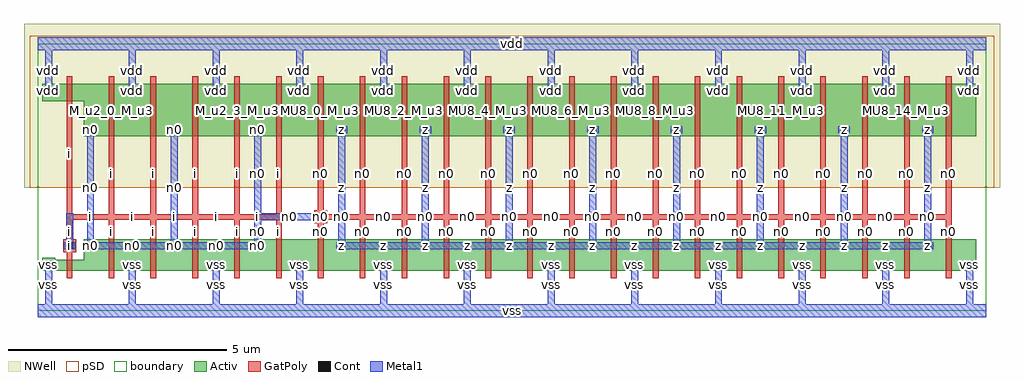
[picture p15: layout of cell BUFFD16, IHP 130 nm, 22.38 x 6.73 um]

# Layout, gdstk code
import gdstk
lib = gdstk.Library(unit=1e-6, precision=1e-09)
def R(c, l, rs):  # rectangles x0, y0, x1, y1
    for r in rs: c.add(gdstk.rectangle(r[:2], r[2:], *l))
def A(c, l, x, y, w, h, nx, ny, dx, dy):  # array of equal rectangles
    R(c, l, [(x+i*dx, y+j*dy, x+i*dx+w, y+j*dy+h) for i in range(nx) for j in range(ny)])
Activ = (1, 0)
GatPoly = (5, 0)
Cont = (6, 0)
Metal1 = (8, 0)
pSD = (14, 0)
NWell = (31, 0)
TEXT = (63, 0)
boundary = (189, 4)

buffd16 = lib.new_cell('BUFFD16')
A(buffd16, Activ, 0.105, 0.92, 0.3, 0.3, 12, 2, 1.92, 3.98)
A(buffd16, Activ, 1.065, 0.92, 1.26, 0.72, 21, 1, 0.96, 0)
A(buffd16, Activ, 1.065, 1.34, 0.3, 0.3, 11, 2, 1.92, 2.66)
A(buffd16, Activ, 1.065, 4, 1.26, 1.2, 21, 1, 0.96, 0)
R(buffd16, Activ, [(0.105,0.92,1.365,1.17), (0.105,4.805,1.365,5.2)])
A(buffd16, GatPoly, 1.63, 0.74, 0.13, 1.08, 21, 1, 0.96, 0)
A(buffd16, GatPoly, 1.63, 1.425, 0.13, 0.79, 21, 1, 0.96, 0)
A(buffd16, GatPoly, 0.67, 2.085, 1.09, 0.13, 5, 1, 0.96, 0)
A(buffd16, GatPoly, 1.63, 2.085, 0.13, 2.13, 21, 1, 0.96, 0)
A(buffd16, GatPoly, 6.43, 2.085, 1.09, 0.13, 15, 1, 0.96, 0)
A(buffd16, GatPoly, 1.63, 3.82, 0.13, 1.56, 21, 1, 0.96, 0)
R(buffd16, GatPoly, [(0.67,0.74,0.8,1.35), (0.67,1.005,0.8,2.215), (0.585,1.34,0.885,1.64), (6.345,2,6.645,2.3), (0.67,2.085,0.8,5.115), (0.67,4.625,0.8,5.38)])
A(buffd16, Cont, 0.175, 0.99, 0.16, 0.16, 12, 2, 1.92, 3.98)
A(buffd16, Cont, 1.135, 1.41, 0.16, 0.16, 11, 2, 1.92, 2.66)
R(buffd16, Cont, [(0.655,1.41,0.815,1.57), (6.415,2.07,6.575,2.23)])
A(buffd16, Metal1, 0.175, 0.07, 0.16, 1.08, 12, 2, 1.92, 4.9)
A(buffd16, Metal1, 0.125, 0.99, 0.26, 0.16, 12, 2, 1.92, 3.98)
A(buffd16, Metal1, 1.085, 1.41, 0.26, 0.16, 11, 2, 1.92, 2.66)
A(buffd16, Metal1, 6.895, 1.41, 2.08, 0.16, 7, 1, 1.92, 0)
A(buffd16, Metal1, 6.895, 1.41, 0.16, 2.82, 8, 1, 1.92, 0)
R(buffd16, Metal1, [(0,-0.15,21.76,0.15), (0.605,1.41,0.865,1.57), (0.655,1.41,0.815,2.23), (1.135,1.41,3.215,1.57), (1.135,1.41,1.295,4.23), (3.055,1.41,5.135,1.57), (3.055,1.41,3.215,4.23), (4.975,1.41,5.135,2.23), (4.975,2.07,6.575,2.23), (4.975,2.07,5.135,4.23), (6.365,2.07,6.625,2.23), (0,5.97,21.76,6.27)])
R(buffd16, pSD, [(-0.18,2.82,21.94,5.94), (-0.18,5.94,21.94,6.3)])
R(buffd16, NWell, [(-0.31,2.82,22.07,6.58)])
R(buffd16, boundary, [(0,0,21.76,6.12)])
buffd16.add(gdstk.FlexPath([(0.105,0.41),(21.525,0.41)], 0, ends="flush", simple_path=True, layer=63, datatype=0))  # TEXT
buffd16.add(gdstk.FlexPath([(0.105,1.07),(21.525,1.07)], 0, ends="flush", simple_path=True, layer=63, datatype=0))  # TEXT
buffd16.add(gdstk.FlexPath([(0.105,1.49),(21.525,1.49)], 0, ends="flush", simple_path=True, layer=63, datatype=0))  # TEXT
buffd16.add(gdstk.FlexPath([(0.105,2.15),(21.525,2.15)], 0, ends="flush", simple_path=True, layer=63, datatype=0))  # TEXT
buffd16.add(gdstk.FlexPath([(0.105,2.63),(21.525,2.63)], 0, ends="flush", simple_path=True, layer=63, datatype=0))  # TEXT
buffd16.add(gdstk.FlexPath([(0.105,3.11),(21.525,3.11)], 0, ends="flush", simple_path=True, layer=63, datatype=0))  # TEXT
buffd16.add(gdstk.FlexPath([(0.105,4.15),(21.525,4.15)], 0, ends="flush", simple_path=True, layer=63, datatype=0))  # TEXT
buffd16.add(gdstk.FlexPath([(0.105,4.71),(21.525,4.71)], 0, ends="flush", simple_path=True, layer=63, datatype=0))  # TEXT
buffd16.add(gdstk.FlexPath([(0.105,5.05),(21.525,5.05)], 0, ends="flush", simple_path=True, layer=63, datatype=0))  # TEXT
buffd16.add(gdstk.FlexPath([(0.105,5.71),(21.525,5.71)], 0, ends="flush", simple_path=True, layer=63, datatype=0))  # TEXT
buffd16.add(gdstk.FlexPath([(0.255,0.07),(0.255,6.05)], 0, ends="flush", simple_path=True, layer=63, datatype=0))  # TEXT
buffd16.add(gdstk.FlexPath([(0.735,0.07),(0.735,6.05)], 0, ends="flush", simple_path=True, layer=63, datatype=0))  # TEXT
buffd16.add(gdstk.FlexPath([(1.215,0.07),(1.215,6.05)], 0, ends="flush", simple_path=True, layer=63, datatype=0))  # TEXT
buffd16.add(gdstk.FlexPath([(1.695,0.07),(1.695,6.05)], 0, ends="flush", simple_path=True, layer=63, datatype=0))  # TEXT
buffd16.add(gdstk.FlexPath([(2.175,0.07),(2.175,6.05)], 0, ends="flush", simple_path=True, layer=63, datatype=0))  # TEXT
buffd16.add(gdstk.FlexPath([(2.655,0.07),(2.655,6.05)], 0, ends="flush", simple_path=True, layer=63, datatype=0))  # TEXT
buffd16.add(gdstk.FlexPath([(3.135,0.07),(3.135,6.05)], 0, ends="flush", simple_path=True, layer=63, datatype=0))  # TEXT
buffd16.add(gdstk.FlexPath([(3.615,0.07),(3.615,6.05)], 0, ends="flush", simple_path=True, layer=63, datatype=0))  # TEXT
buffd16.add(gdstk.FlexPath([(4.095,0.07),(4.095,6.05)], 0, ends="flush", simple_path=True, layer=63, datatype=0))  # TEXT
buffd16.add(gdstk.FlexPath([(4.575,0.07),(4.575,6.05)], 0, ends="flush", simple_path=True, layer=63, datatype=0))  # TEXT
buffd16.add(gdstk.FlexPath([(5.055,0.07),(5.055,6.05)], 0, ends="flush", simple_path=True, layer=63, datatype=0))  # TEXT
buffd16.add(gdstk.FlexPath([(5.535,0.07),(5.535,6.05)], 0, ends="flush", simple_path=True, layer=63, datatype=0))  # TEXT
buffd16.add(gdstk.FlexPath([(6.015,0.07),(6.015,6.05)], 0, ends="flush", simple_path=True, layer=63, datatype=0))  # TEXT
buffd16.add(gdstk.FlexPath([(6.495,0.07),(6.495,6.05)], 0, ends="flush", simple_path=True, layer=63, datatype=0))  # TEXT
buffd16.add(gdstk.FlexPath([(6.975,0.07),(6.975,6.05)], 0, ends="flush", simple_path=True, layer=63, datatype=0))  # TEXT
buffd16.add(gdstk.FlexPath([(7.455,0.07),(7.455,6.05)], 0, ends="flush", simple_path=True, layer=63, datatype=0))  # TEXT
buffd16.add(gdstk.FlexPath([(7.935,0.07),(7.935,6.05)], 0, ends="flush", simple_path=True, layer=63, datatype=0))  # TEXT
buffd16.add(gdstk.FlexPath([(8.415,0.07),(8.415,6.05)], 0, ends="flush", simple_path=True, layer=63, datatype=0))  # TEXT
buffd16.add(gdstk.FlexPath([(8.895,0.07),(8.895,6.05)], 0, ends="flush", simple_path=True, layer=63, datatype=0))  # TEXT
buffd16.add(gdstk.FlexPath([(9.375,0.07),(9.375,6.05)], 0, ends="flush", simple_path=True, layer=63, datatype=0))  # TEXT
buffd16.add(gdstk.FlexPath([(9.855,0.07),(9.855,6.05)], 0, ends="flush", simple_path=True, layer=63, datatype=0))  # TEXT
buffd16.add(gdstk.FlexPath([(10.335,0.07),(10.335,6.05)], 0, ends="flush", simple_path=True, layer=63, datatype=0))  # TEXT
buffd16.add(gdstk.FlexPath([(10.815,0.07),(10.815,6.05)], 0, ends="flush", simple_path=True, layer=63, datatype=0))  # TEXT
buffd16.add(gdstk.FlexPath([(11.295,0.07),(11.295,6.05)], 0, ends="flush", simple_path=True, layer=63, datatype=0))  # TEXT
buffd16.add(gdstk.FlexPath([(11.775,0.07),(11.775,6.05)], 0, ends="flush", simple_path=True, layer=63, datatype=0))  # TEXT
buffd16.add(gdstk.FlexPath([(12.255,0.07),(12.255,6.05)], 0, ends="flush", simple_path=True, layer=63, datatype=0))  # TEXT
buffd16.add(gdstk.FlexPath([(12.735,0.07),(12.735,6.05)], 0, ends="flush", simple_path=True, layer=63, datatype=0))  # TEXT
buffd16.add(gdstk.FlexPath([(13.215,0.07),(13.215,6.05)], 0, ends="flush", simple_path=True, layer=63, datatype=0))  # TEXT
buffd16.add(gdstk.FlexPath([(13.695,0.07),(13.695,6.05)], 0, ends="flush", simple_path=True, layer=63, datatype=0))  # TEXT
buffd16.add(gdstk.FlexPath([(14.175,0.07),(14.175,6.05)], 0, ends="flush", simple_path=True, layer=63, datatype=0))  # TEXT
buffd16.add(gdstk.FlexPath([(14.655,0.07),(14.655,6.05)], 0, ends="flush", simple_path=True, layer=63, datatype=0))  # TEXT
buffd16.add(gdstk.FlexPath([(15.135,0.07),(15.135,6.05)], 0, ends="flush", simple_path=True, layer=63, datatype=0))  # TEXT
buffd16.add(gdstk.FlexPath([(15.615,0.07),(15.615,6.05)], 0, ends="flush", simple_path=True, layer=63, datatype=0))  # TEXT
buffd16.add(gdstk.FlexPath([(16.095,0.07),(16.095,6.05)], 0, ends="flush", simple_path=True, layer=63, datatype=0))  # TEXT
buffd16.add(gdstk.FlexPath([(16.575,0.07),(16.575,6.05)], 0, ends="flush", simple_path=True, layer=63, datatype=0))  # TEXT
buffd16.add(gdstk.FlexPath([(17.055,0.07),(17.055,6.05)], 0, ends="flush", simple_path=True, layer=63, datatype=0))  # TEXT
buffd16.add(gdstk.FlexPath([(17.535,0.07),(17.535,6.05)], 0, ends="flush", simple_path=True, layer=63, datatype=0))  # TEXT
buffd16.add(gdstk.FlexPath([(18.015,0.07),(18.015,6.05)], 0, ends="flush", simple_path=True, layer=63, datatype=0))  # TEXT
buffd16.add(gdstk.FlexPath([(18.495,0.07),(18.495,6.05)], 0, ends="flush", simple_path=True, layer=63, datatype=0))  # TEXT
buffd16.add(gdstk.FlexPath([(18.975,0.07),(18.975,6.05)], 0, ends="flush", simple_path=True, layer=63, datatype=0))  # TEXT
buffd16.add(gdstk.FlexPath([(19.455,0.07),(19.455,6.05)], 0, ends="flush", simple_path=True, layer=63, datatype=0))  # TEXT
buffd16.add(gdstk.FlexPath([(19.935,0.07),(19.935,6.05)], 0, ends="flush", simple_path=True, layer=63, datatype=0))  # TEXT
buffd16.add(gdstk.FlexPath([(20.415,0.07),(20.415,6.05)], 0, ends="flush", simple_path=True, layer=63, datatype=0))  # TEXT
buffd16.add(gdstk.FlexPath([(20.895,0.07),(20.895,6.05)], 0, ends="flush", simple_path=True, layer=63, datatype=0))  # TEXT
buffd16.add(gdstk.FlexPath([(21.375,0.07),(21.375,6.05)], 0, ends="flush", simple_path=True, layer=63, datatype=0))  # TEXT
buffd16.add(gdstk.Label('n0', (1.215,1.49), layer=6, texttype=0))
buffd16.add(gdstk.Label('n0', (3.135,1.49), layer=6, texttype=0))
buffd16.add(gdstk.Label('n0', (5.055,1.49), layer=6, texttype=0))
buffd16.add(gdstk.Label('n0', (1.215,4.15), layer=6, texttype=0))
buffd16.add(gdstk.Label('n0', (3.135,4.15), layer=6, texttype=0))
buffd16.add(gdstk.Label('n0', (5.055,4.15), layer=6, texttype=0))
buffd16.add(gdstk.Label('n0', (6.495,2.15), layer=6, texttype=0))
buffd16.add(gdstk.Label('i', (0.735,1.49), layer=6, texttype=0))
buffd16.add(gdstk.Label('z', (6.975,1.49), layer=6, texttype=0))
buffd16.add(gdstk.Label('z', (8.895,1.49), layer=6, texttype=0))
buffd16.add(gdstk.Label('z', (10.815,1.49), layer=6, texttype=0))
buffd16.add(gdstk.Label('z', (12.735,1.49), layer=6, texttype=0))
buffd16.add(gdstk.Label('z', (14.655,1.49), layer=6, texttype=0))
buffd16.add(gdstk.Label('z', (16.575,1.49), layer=6, texttype=0))
buffd16.add(gdstk.Label('z', (18.495,1.49), layer=6, texttype=0))
buffd16.add(gdstk.Label('z', (20.415,1.49), layer=6, texttype=0))
buffd16.add(gdstk.Label('z', (6.975,4.15), layer=6, texttype=0))
buffd16.add(gdstk.Label('z', (8.895,4.15), layer=6, texttype=0))
buffd16.add(gdstk.Label('z', (10.815,4.15), layer=6, texttype=0))
buffd16.add(gdstk.Label('z', (12.735,4.15), layer=6, texttype=0))
buffd16.add(gdstk.Label('z', (14.655,4.15), layer=6, texttype=0))
buffd16.add(gdstk.Label('z', (16.575,4.15), layer=6, texttype=0))
buffd16.add(gdstk.Label('z', (18.495,4.15), layer=6, texttype=0))
buffd16.add(gdstk.Label('z', (20.415,4.15), layer=6, texttype=0))
buffd16.add(gdstk.Label('vss', (0.255,1.07), layer=6, texttype=0))
buffd16.add(gdstk.Label('vss', (2.175,1.07), layer=6, texttype=0))
buffd16.add(gdstk.Label('vss', (4.095,1.07), layer=6, texttype=0))
buffd16.add(gdstk.Label('vss', (6.015,1.07), layer=6, texttype=0))
buffd16.add(gdstk.Label('vss', (7.935,1.07), layer=6, texttype=0))
buffd16.add(gdstk.Label('vss', (9.855,1.07), layer=6, texttype=0))
buffd16.add(gdstk.Label('vss', (11.775,1.07), layer=6, texttype=0))
buffd16.add(gdstk.Label('vss', (13.695,1.07), layer=6, texttype=0))
buffd16.add(gdstk.Label('vss', (15.615,1.07), layer=6, texttype=0))
buffd16.add(gdstk.Label('vss', (17.535,1.07), layer=6, texttype=0))
buffd16.add(gdstk.Label('vss', (19.455,1.07), layer=6, texttype=0))
buffd16.add(gdstk.Label('vss', (21.375,1.07), layer=6, texttype=0))
buffd16.add(gdstk.Label('vdd', (0.255,5.05), layer=6, texttype=0))
buffd16.add(gdstk.Label('vdd', (2.175,5.05), layer=6, texttype=0))
buffd16.add(gdstk.Label('vdd', (4.095,5.05), layer=6, texttype=0))
buffd16.add(gdstk.Label('vdd', (6.015,5.05), layer=6, texttype=0))
buffd16.add(gdstk.Label('vdd', (7.935,5.05), layer=6, texttype=0))
buffd16.add(gdstk.Label('vdd', (9.855,5.05), layer=6, texttype=0))
buffd16.add(gdstk.Label('vdd', (11.775,5.05), layer=6, texttype=0))
buffd16.add(gdstk.Label('vdd', (13.695,5.05), layer=6, texttype=0))
buffd16.add(gdstk.Label('vdd', (15.615,5.05), layer=6, texttype=0))
buffd16.add(gdstk.Label('vdd', (17.535,5.05), layer=6, texttype=0))
buffd16.add(gdstk.Label('vdd', (19.455,5.05), layer=6, texttype=0))
buffd16.add(gdstk.Label('vdd', (21.375,5.05), layer=6, texttype=0))
buffd16.add(gdstk.Label('n0', (1.215,1.49), layer=8, texttype=0))
buffd16.add(gdstk.Label('n0', (3.135,1.49), layer=8, texttype=0))
buffd16.add(gdstk.Label('n0', (5.055,1.49), layer=8, texttype=0))
buffd16.add(gdstk.Label('n0', (1.215,4.15), layer=8, texttype=0))
buffd16.add(gdstk.Label('n0', (3.135,4.15), layer=8, texttype=0))
buffd16.add(gdstk.Label('n0', (5.055,4.15), layer=8, texttype=0))
buffd16.add(gdstk.Label('n0', (2.175,1.49), layer=8, texttype=0))
buffd16.add(gdstk.Label('n0', (4.095,1.49), layer=8, texttype=0))
buffd16.add(gdstk.Label('n0', (5.055,1.82), layer=8, texttype=0))
buffd16.add(gdstk.Label('n0', (5.775,2.15), layer=8, texttype=0))
buffd16.add(gdstk.Label('n0', (6.495,2.15), layer=8, texttype=0))
buffd16.add(gdstk.Label('n0', (1.215,2.82), layer=8, texttype=0))
buffd16.add(gdstk.Label('n0', (3.135,2.82), layer=8, texttype=0))
buffd16.add(gdstk.Label('n0', (5.055,3.15), layer=8, texttype=0))
buffd16.add(gdstk.Label('vss', (0.255,1.07), layer=8, texttype=0))
buffd16.add(gdstk.Label('vss', (0.255,0.61), layer=8, texttype=0))
buffd16.add(gdstk.Label('vss', (2.175,1.07), layer=8, texttype=0))
buffd16.add(gdstk.Label('vss', (2.175,0.61), layer=8, texttype=0))
buffd16.add(gdstk.Label('vss', (4.095,1.07), layer=8, texttype=0))
buffd16.add(gdstk.Label('vss', (4.095,0.61), layer=8, texttype=0))
buffd16.add(gdstk.Label('vss', (6.015,1.07), layer=8, texttype=0))
buffd16.add(gdstk.Label('vss', (6.015,0.61), layer=8, texttype=0))
buffd16.add(gdstk.Label('vss', (7.935,1.07), layer=8, texttype=0))
buffd16.add(gdstk.Label('vss', (7.935,0.61), layer=8, texttype=0))
buffd16.add(gdstk.Label('vss', (9.855,1.07), layer=8, texttype=0))
buffd16.add(gdstk.Label('vss', (9.855,0.61), layer=8, texttype=0))
buffd16.add(gdstk.Label('vss', (11.775,1.07), layer=8, texttype=0))
buffd16.add(gdstk.Label('vss', (11.775,0.61), layer=8, texttype=0))
buffd16.add(gdstk.Label('vss', (13.695,1.07), layer=8, texttype=0))
buffd16.add(gdstk.Label('vss', (13.695,0.61), layer=8, texttype=0))
buffd16.add(gdstk.Label('vss', (15.615,1.07), layer=8, texttype=0))
buffd16.add(gdstk.Label('vss', (15.615,0.61), layer=8, texttype=0))
buffd16.add(gdstk.Label('vss', (17.535,1.07), layer=8, texttype=0))
buffd16.add(gdstk.Label('vss', (17.535,0.61), layer=8, texttype=0))
buffd16.add(gdstk.Label('vss', (19.455,1.07), layer=8, texttype=0))
buffd16.add(gdstk.Label('vss', (19.455,0.61), layer=8, texttype=0))
buffd16.add(gdstk.Label('vss', (21.375,1.07), layer=8, texttype=0))
buffd16.add(gdstk.Label('vss', (21.375,0.61), layer=8, texttype=0))
buffd16.add(gdstk.Label('vdd', (0.255,5.05), layer=8, texttype=0))
buffd16.add(gdstk.Label('vdd', (0.255,5.51), layer=8, texttype=0))
buffd16.add(gdstk.Label('vdd', (2.175,5.05), layer=8, texttype=0))
buffd16.add(gdstk.Label('vdd', (2.175,5.51), layer=8, texttype=0))
buffd16.add(gdstk.Label('vdd', (4.095,5.05), layer=8, texttype=0))
buffd16.add(gdstk.Label('vdd', (4.095,5.51), layer=8, texttype=0))
buffd16.add(gdstk.Label('vdd', (6.015,5.05), layer=8, texttype=0))
buffd16.add(gdstk.Label('vdd', (6.015,5.51), layer=8, texttype=0))
buffd16.add(gdstk.Label('vdd', (7.935,5.05), layer=8, texttype=0))
buffd16.add(gdstk.Label('vdd', (7.935,5.51), layer=8, texttype=0))
buffd16.add(gdstk.Label('vdd', (9.855,5.05), layer=8, texttype=0))
buffd16.add(gdstk.Label('vdd', (9.855,5.51), layer=8, texttype=0))
buffd16.add(gdstk.Label('vdd', (11.775,5.05), layer=8, texttype=0))
buffd16.add(gdstk.Label('vdd', (11.775,5.51), layer=8, texttype=0))
buffd16.add(gdstk.Label('vdd', (13.695,5.05), layer=8, texttype=0))
buffd16.add(gdstk.Label('vdd', (13.695,5.51), layer=8, texttype=0))
buffd16.add(gdstk.Label('vdd', (15.615,5.05), layer=8, texttype=0))
buffd16.add(gdstk.Label('vdd', (15.615,5.51), layer=8, texttype=0))
buffd16.add(gdstk.Label('vdd', (17.535,5.05), layer=8, texttype=0))
buffd16.add(gdstk.Label('vdd', (17.535,5.51), layer=8, texttype=0))
buffd16.add(gdstk.Label('vdd', (19.455,5.05), layer=8, texttype=0))
buffd16.add(gdstk.Label('vdd', (19.455,5.51), layer=8, texttype=0))
buffd16.add(gdstk.Label('vdd', (21.375,5.05), layer=8, texttype=0))
buffd16.add(gdstk.Label('vdd', (21.375,5.51), layer=8, texttype=0))
buffd16.add(gdstk.Label('i', (0.735,1.49), layer=8, texttype=2))
buffd16.add(gdstk.Label('i', (0.735,1.82), layer=8, texttype=2))
buffd16.add(gdstk.Label('z', (6.975,1.49), layer=8, texttype=2))
buffd16.add(gdstk.Label('z', (8.895,1.49), layer=8, texttype=2))
buffd16.add(gdstk.Label('z', (10.815,1.49), layer=8, texttype=2))
buffd16.add(gdstk.Label('z', (12.735,1.49), layer=8, texttype=2))
buffd16.add(gdstk.Label('z', (14.655,1.49), layer=8, texttype=2))
buffd16.add(gdstk.Label('z', (16.575,1.49), layer=8, texttype=2))
buffd16.add(gdstk.Label('z', (18.495,1.49), layer=8, texttype=2))
buffd16.add(gdstk.Label('z', (20.415,1.49), layer=8, texttype=2))
buffd16.add(gdstk.Label('z', (6.975,4.15), layer=8, texttype=2))
buffd16.add(gdstk.Label('z', (8.895,4.15), layer=8, texttype=2))
buffd16.add(gdstk.Label('z', (10.815,4.15), layer=8, texttype=2))
buffd16.add(gdstk.Label('z', (12.735,4.15), layer=8, texttype=2))
buffd16.add(gdstk.Label('z', (14.655,4.15), layer=8, texttype=2))
buffd16.add(gdstk.Label('z', (16.575,4.15), layer=8, texttype=2))
buffd16.add(gdstk.Label('z', (18.495,4.15), layer=8, texttype=2))
buffd16.add(gdstk.Label('z', (20.415,4.15), layer=8, texttype=2))
buffd16.add(gdstk.Label('z', (7.935,1.49), layer=8, texttype=2))
buffd16.add(gdstk.Label('z', (9.855,1.49), layer=8, texttype=2))
buffd16.add(gdstk.Label('z', (11.775,1.49), layer=8, texttype=2))
buffd16.add(gdstk.Label('z', (13.695,1.49), layer=8, texttype=2))
buffd16.add(gdstk.Label('z', (15.615,1.49), layer=8, texttype=2))
buffd16.add(gdstk.Label('z', (17.535,1.49), layer=8, texttype=2))
buffd16.add(gdstk.Label('z', (19.455,1.49), layer=8, texttype=2))
buffd16.add(gdstk.Label('z', (6.975,2.82), layer=8, texttype=2))
buffd16.add(gdstk.Label('z', (8.895,2.82), layer=8, texttype=2))
buffd16.add(gdstk.Label('z', (10.815,2.82), layer=8, texttype=2))
buffd16.add(gdstk.Label('z', (12.735,2.82), layer=8, texttype=2))
buffd16.add(gdstk.Label('z', (14.655,2.82), layer=8, texttype=2))
buffd16.add(gdstk.Label('z', (16.575,2.82), layer=8, texttype=2))
buffd16.add(gdstk.Label('z', (18.495,2.82), layer=8, texttype=2))
buffd16.add(gdstk.Label('z', (20.415,2.82), layer=8, texttype=2))
buffd16.add(gdstk.Label('vss', (10.88,0), layer=8, texttype=2))
buffd16.add(gdstk.Label('vdd', (10.88,6.12), layer=8, texttype=2))
buffd16.add(gdstk.Label('i', (0.735,1.49), layer=8, texttype=2))
buffd16.add(gdstk.Label('i', (0.735,1.82), layer=8, texttype=2))
buffd16.add(gdstk.Label('z', (6.975,1.49), layer=8, texttype=2))
buffd16.add(gdstk.Label('z', (8.895,1.49), layer=8, texttype=2))
buffd16.add(gdstk.Label('z', (10.815,1.49), layer=8, texttype=2))
buffd16.add(gdstk.Label('z', (12.735,1.49), layer=8, texttype=2))
buffd16.add(gdstk.Label('z', (14.655,1.49), layer=8, texttype=2))
buffd16.add(gdstk.Label('z', (16.575,1.49), layer=8, texttype=2))
buffd16.add(gdstk.Label('z', (18.495,1.49), layer=8, texttype=2))
buffd16.add(gdstk.Label('z', (20.415,1.49), layer=8, texttype=2))
buffd16.add(gdstk.Label('z', (6.975,4.15), layer=8, texttype=2))
buffd16.add(gdstk.Label('z', (8.895,4.15), layer=8, texttype=2))
buffd16.add(gdstk.Label('z', (10.815,4.15), layer=8, texttype=2))
buffd16.add(gdstk.Label('z', (12.735,4.15), layer=8, texttype=2))
buffd16.add(gdstk.Label('z', (14.655,4.15), layer=8, texttype=2))
buffd16.add(gdstk.Label('z', (16.575,4.15), layer=8, texttype=2))
buffd16.add(gdstk.Label('z', (18.495,4.15), layer=8, texttype=2))
buffd16.add(gdstk.Label('z', (20.415,4.15), layer=8, texttype=2))
buffd16.add(gdstk.Label('z', (7.935,1.49), layer=8, texttype=2))
buffd16.add(gdstk.Label('z', (9.855,1.49), layer=8, texttype=2))
buffd16.add(gdstk.Label('z', (11.775,1.49), layer=8, texttype=2))
buffd16.add(gdstk.Label('z', (13.695,1.49), layer=8, texttype=2))
buffd16.add(gdstk.Label('z', (15.615,1.49), layer=8, texttype=2))
buffd16.add(gdstk.Label('z', (17.535,1.49), layer=8, texttype=2))
buffd16.add(gdstk.Label('z', (19.455,1.49), layer=8, texttype=2))
buffd16.add(gdstk.Label('z', (6.975,2.82), layer=8, texttype=2))
buffd16.add(gdstk.Label('z', (8.895,2.82), layer=8, texttype=2))
buffd16.add(gdstk.Label('z', (10.815,2.82), layer=8, texttype=2))
buffd16.add(gdstk.Label('z', (12.735,2.82), layer=8, texttype=2))
buffd16.add(gdstk.Label('z', (14.655,2.82), layer=8, texttype=2))
buffd16.add(gdstk.Label('z', (16.575,2.82), layer=8, texttype=2))
buffd16.add(gdstk.Label('z', (18.495,2.82), layer=8, texttype=2))
buffd16.add(gdstk.Label('z', (20.415,2.82), layer=8, texttype=2))
buffd16.add(gdstk.Label('vss', (10.88,0), layer=8, texttype=2))
buffd16.add(gdstk.Label('vdd', (10.88,6.12), layer=8, texttype=2))
buffd16.add(gdstk.Label('MI6_M_u2', (0.735,1.045), layer=1, texttype=0))
buffd16.add(gdstk.Label('M_u2_0_M_u2', (1.695,1.28), layer=1, texttype=0))
buffd16.add(gdstk.Label('M_u2_1_M_u2', (2.655,1.28), layer=1, texttype=0))
buffd16.add(gdstk.Label('M_u2_2_M_u2', (3.615,1.28), layer=1, texttype=0))
buffd16.add(gdstk.Label('M_u2_3_M_u2', (4.575,1.28), layer=1, texttype=0))
buffd16.add(gdstk.Label('M_u2_4_M_u2', (5.535,1.28), layer=1, texttype=0))
buffd16.add(gdstk.Label('MU8_0_M_u2', (6.495,1.28), layer=1, texttype=0))
buffd16.add(gdstk.Label('MU8_1_M_u2', (7.455,1.28), layer=1, texttype=0))
buffd16.add(gdstk.Label('MU8_2_M_u2', (8.415,1.28), layer=1, texttype=0))
buffd16.add(gdstk.Label('MU8_3_M_u2', (9.375,1.28), layer=1, texttype=0))
buffd16.add(gdstk.Label('MU8_4_M_u2', (10.335,1.28), layer=1, texttype=0))
buffd16.add(gdstk.Label('MU8_5_M_u2', (11.295,1.28), layer=1, texttype=0))
buffd16.add(gdstk.Label('MU8_6_M_u2', (12.255,1.28), layer=1, texttype=0))
buffd16.add(gdstk.Label('MU8_7_M_u2', (13.215,1.28), layer=1, texttype=0))
buffd16.add(gdstk.Label('MU8_8_M_u2', (14.175,1.28), layer=1, texttype=0))
buffd16.add(gdstk.Label('MU8_9_M_u2', (15.135,1.28), layer=1, texttype=0))
buffd16.add(gdstk.Label('MU8_10_M_u2', (16.095,1.28), layer=1, texttype=0))
buffd16.add(gdstk.Label('MU8_11_M_u2', (17.055,1.28), layer=1, texttype=0))
buffd16.add(gdstk.Label('MU8_12_M_u2', (18.015,1.28), layer=1, texttype=0))
buffd16.add(gdstk.Label('MU8_13_M_u2', (18.975,1.28), layer=1, texttype=0))
buffd16.add(gdstk.Label('MU8_14_M_u2', (19.935,1.28), layer=1, texttype=0))
buffd16.add(gdstk.Label('MU8_15_M_u2', (20.895,1.28), layer=1, texttype=0))
buffd16.add(gdstk.Label('MI6_M_u3', (0.735,5.002), layer=1, texttype=0))
buffd16.add(gdstk.Label('M_u2_0_M_u3', (1.695,4.6), layer=1, texttype=0))
buffd16.add(gdstk.Label('M_u2_1_M_u3', (2.655,4.6), layer=1, texttype=0))
buffd16.add(gdstk.Label('M_u2_2_M_u3', (3.615,4.6), layer=1, texttype=0))
buffd16.add(gdstk.Label('M_u2_3_M_u3', (4.575,4.6), layer=1, texttype=0))
buffd16.add(gdstk.Label('M_u2_4_M_u3', (5.535,4.6), layer=1, texttype=0))
buffd16.add(gdstk.Label('MU8_0_M_u3', (6.495,4.6), layer=1, texttype=0))
buffd16.add(gdstk.Label('MU8_1_M_u3', (7.455,4.6), layer=1, texttype=0))
buffd16.add(gdstk.Label('MU8_2_M_u3', (8.415,4.6), layer=1, texttype=0))
buffd16.add(gdstk.Label('MU8_3_M_u3', (9.375,4.6), layer=1, texttype=0))
buffd16.add(gdstk.Label('MU8_4_M_u3', (10.335,4.6), layer=1, texttype=0))
buffd16.add(gdstk.Label('MU8_5_M_u3', (11.295,4.6), layer=1, texttype=0))
buffd16.add(gdstk.Label('MU8_6_M_u3', (12.255,4.6), layer=1, texttype=0))
buffd16.add(gdstk.Label('MU8_7_M_u3', (13.215,4.6), layer=1, texttype=0))
buffd16.add(gdstk.Label('MU8_8_M_u3', (14.175,4.6), layer=1, texttype=0))
buffd16.add(gdstk.Label('MU8_9_M_u3', (15.135,4.6), layer=1, texttype=0))
buffd16.add(gdstk.Label('MU8_10_M_u3', (16.095,4.6), layer=1, texttype=0))
buffd16.add(gdstk.Label('MU8_11_M_u3', (17.055,4.6), layer=1, texttype=0))
buffd16.add(gdstk.Label('MU8_12_M_u3', (18.015,4.6), layer=1, texttype=0))
buffd16.add(gdstk.Label('MU8_13_M_u3', (18.975,4.6), layer=1, texttype=0))
buffd16.add(gdstk.Label('MU8_14_M_u3', (19.935,4.6), layer=1, texttype=0))
buffd16.add(gdstk.Label('MU8_15_M_u3', (20.895,4.6), layer=1, texttype=0))
buffd16.add(gdstk.Label('n0', (1.215,1.49), layer=1, texttype=0))
buffd16.add(gdstk.Label('n0', (3.135,1.49), layer=1, texttype=0))
buffd16.add(gdstk.Label('n0', (5.055,1.49), layer=1, texttype=0))
buffd16.add(gdstk.Label('n0', (1.215,4.15), layer=1, texttype=0))
buffd16.add(gdstk.Label('n0', (3.135,4.15), layer=1, texttype=0))
buffd16.add(gdstk.Label('n0', (5.055,4.15), layer=1, texttype=0))
buffd16.add(gdstk.Label('z', (6.975,1.49), layer=1, texttype=0))
buffd16.add(gdstk.Label('z', (8.895,1.49), layer=1, texttype=0))
buffd16.add(gdstk.Label('z', (10.815,1.49), layer=1, texttype=0))
buffd16.add(gdstk.Label('z', (12.735,1.49), layer=1, texttype=0))
buffd16.add(gdstk.Label('z', (14.655,1.49), layer=1, texttype=0))
buffd16.add(gdstk.Label('z', (16.575,1.49), layer=1, texttype=0))
buffd16.add(gdstk.Label('z', (18.495,1.49), layer=1, texttype=0))
buffd16.add(gdstk.Label('z', (20.415,1.49), layer=1, texttype=0))
buffd16.add(gdstk.Label('z', (6.975,4.15), layer=1, texttype=0))
buffd16.add(gdstk.Label('z', (8.895,4.15), layer=1, texttype=0))
buffd16.add(gdstk.Label('z', (10.815,4.15), layer=1, texttype=0))
buffd16.add(gdstk.Label('z', (12.735,4.15), layer=1, texttype=0))
buffd16.add(gdstk.Label('z', (14.655,4.15), layer=1, texttype=0))
buffd16.add(gdstk.Label('z', (16.575,4.15), layer=1, texttype=0))
buffd16.add(gdstk.Label('z', (18.495,4.15), layer=1, texttype=0))
buffd16.add(gdstk.Label('z', (20.415,4.15), layer=1, texttype=0))
buffd16.add(gdstk.Label('vss', (0.255,1.07), layer=1, texttype=0))
buffd16.add(gdstk.Label('vss', (2.175,1.07), layer=1, texttype=0))
buffd16.add(gdstk.Label('vss', (4.095,1.07), layer=1, texttype=0))
buffd16.add(gdstk.Label('vss', (6.015,1.07), layer=1, texttype=0))
buffd16.add(gdstk.Label('vss', (7.935,1.07), layer=1, texttype=0))
buffd16.add(gdstk.Label('vss', (9.855,1.07), layer=1, texttype=0))
buffd16.add(gdstk.Label('vss', (11.775,1.07), layer=1, texttype=0))
buffd16.add(gdstk.Label('vss', (13.695,1.07), layer=1, texttype=0))
buffd16.add(gdstk.Label('vss', (15.615,1.07), layer=1, texttype=0))
buffd16.add(gdstk.Label('vss', (17.535,1.07), layer=1, texttype=0))
buffd16.add(gdstk.Label('vss', (19.455,1.07), layer=1, texttype=0))
buffd16.add(gdstk.Label('vss', (21.375,1.07), layer=1, texttype=0))
buffd16.add(gdstk.Label('vdd', (0.255,5.05), layer=1, texttype=0))
buffd16.add(gdstk.Label('vdd', (2.175,5.05), layer=1, texttype=0))
buffd16.add(gdstk.Label('vdd', (4.095,5.05), layer=1, texttype=0))
buffd16.add(gdstk.Label('vdd', (6.015,5.05), layer=1, texttype=0))
buffd16.add(gdstk.Label('vdd', (7.935,5.05), layer=1, texttype=0))
buffd16.add(gdstk.Label('vdd', (9.855,5.05), layer=1, texttype=0))
buffd16.add(gdstk.Label('vdd', (11.775,5.05), layer=1, texttype=0))
buffd16.add(gdstk.Label('vdd', (13.695,5.05), layer=1, texttype=0))
buffd16.add(gdstk.Label('vdd', (15.615,5.05), layer=1, texttype=0))
buffd16.add(gdstk.Label('vdd', (17.535,5.05), layer=1, texttype=0))
buffd16.add(gdstk.Label('vdd', (19.455,5.05), layer=1, texttype=0))
buffd16.add(gdstk.Label('vdd', (21.375,5.05), layer=1, texttype=0))
buffd16.add(gdstk.Label('i', (0.735,1.49), layer=8, texttype=25))
buffd16.add(gdstk.Label('i', (0.735,1.82), layer=8, texttype=25))
buffd16.add(gdstk.Label('z', (6.975,1.49), layer=8, texttype=25))
buffd16.add(gdstk.Label('z', (8.895,1.49), layer=8, texttype=25))
buffd16.add(gdstk.Label('z', (10.815,1.49), layer=8, texttype=25))
buffd16.add(gdstk.Label('z', (12.735,1.49), layer=8, texttype=25))
buffd16.add(gdstk.Label('z', (14.655,1.49), layer=8, texttype=25))
buffd16.add(gdstk.Label('z', (16.575,1.49), layer=8, texttype=25))
buffd16.add(gdstk.Label('z', (18.495,1.49), layer=8, texttype=25))
buffd16.add(gdstk.Label('z', (20.415,1.49), layer=8, texttype=25))
buffd16.add(gdstk.Label('z', (6.975,4.15), layer=8, texttype=25))
buffd16.add(gdstk.Label('z', (8.895,4.15), layer=8, texttype=25))
buffd16.add(gdstk.Label('z', (10.815,4.15), layer=8, texttype=25))
buffd16.add(gdstk.Label('z', (12.735,4.15), layer=8, texttype=25))
buffd16.add(gdstk.Label('z', (14.655,4.15), layer=8, texttype=25))
buffd16.add(gdstk.Label('z', (16.575,4.15), layer=8, texttype=25))
buffd16.add(gdstk.Label('z', (18.495,4.15), layer=8, texttype=25))
buffd16.add(gdstk.Label('z', (20.415,4.15), layer=8, texttype=25))
buffd16.add(gdstk.Label('z', (7.935,1.49), layer=8, texttype=25))
buffd16.add(gdstk.Label('z', (9.855,1.49), layer=8, texttype=25))
buffd16.add(gdstk.Label('z', (11.775,1.49), layer=8, texttype=25))
buffd16.add(gdstk.Label('z', (13.695,1.49), layer=8, texttype=25))
buffd16.add(gdstk.Label('z', (15.615,1.49), layer=8, texttype=25))
buffd16.add(gdstk.Label('z', (17.535,1.49), layer=8, texttype=25))
buffd16.add(gdstk.Label('z', (19.455,1.49), layer=8, texttype=25))
buffd16.add(gdstk.Label('z', (6.975,2.82), layer=8, texttype=25))
buffd16.add(gdstk.Label('z', (8.895,2.82), layer=8, texttype=25))
buffd16.add(gdstk.Label('z', (10.815,2.82), layer=8, texttype=25))
buffd16.add(gdstk.Label('z', (12.735,2.82), layer=8, texttype=25))
buffd16.add(gdstk.Label('z', (14.655,2.82), layer=8, texttype=25))
buffd16.add(gdstk.Label('z', (16.575,2.82), layer=8, texttype=25))
buffd16.add(gdstk.Label('z', (18.495,2.82), layer=8, texttype=25))
buffd16.add(gdstk.Label('z', (20.415,2.82), layer=8, texttype=25))
buffd16.add(gdstk.Label('vss', (10.88,0), layer=8, texttype=25))
buffd16.add(gdstk.Label('vdd', (10.88,6.12), layer=8, texttype=25))
buffd16.add(gdstk.Label('n0', (6.495,2.15), layer=5, texttype=0))
buffd16.add(gdstk.Label('n0', (6.495,1.82), layer=5, texttype=0))
buffd16.add(gdstk.Label('n0', (6.975,2.15), layer=5, texttype=0))
buffd16.add(gdstk.Label('n0', (7.455,1.82), layer=5, texttype=0))
buffd16.add(gdstk.Label('n0', (7.935,2.15), layer=5, texttype=0))
buffd16.add(gdstk.Label('n0', (8.415,1.82), layer=5, texttype=0))
buffd16.add(gdstk.Label('n0', (8.895,2.15), layer=5, texttype=0))
buffd16.add(gdstk.Label('n0', (9.375,1.82), layer=5, texttype=0))
buffd16.add(gdstk.Label('n0', (9.855,2.15), layer=5, texttype=0))
buffd16.add(gdstk.Label('n0', (10.335,1.82), layer=5, texttype=0))
buffd16.add(gdstk.Label('n0', (10.815,2.15), layer=5, texttype=0))
buffd16.add(gdstk.Label('n0', (11.295,1.82), layer=5, texttype=0))
buffd16.add(gdstk.Label('n0', (11.775,2.15), layer=5, texttype=0))
buffd16.add(gdstk.Label('n0', (12.255,1.82), layer=5, texttype=0))
buffd16.add(gdstk.Label('n0', (12.735,2.15), layer=5, texttype=0))
buffd16.add(gdstk.Label('n0', (13.215,1.82), layer=5, texttype=0))
buffd16.add(gdstk.Label('n0', (13.695,2.15), layer=5, texttype=0))
buffd16.add(gdstk.Label('n0', (14.175,1.82), layer=5, texttype=0))
buffd16.add(gdstk.Label('n0', (14.655,2.15), layer=5, texttype=0))
buffd16.add(gdstk.Label('n0', (15.135,1.82), layer=5, texttype=0))
buffd16.add(gdstk.Label('n0', (15.615,2.15), layer=5, texttype=0))
buffd16.add(gdstk.Label('n0', (16.095,1.82), layer=5, texttype=0))
buffd16.add(gdstk.Label('n0', (16.575,2.15), layer=5, texttype=0))
buffd16.add(gdstk.Label('n0', (17.055,1.82), layer=5, texttype=0))
buffd16.add(gdstk.Label('n0', (17.535,2.15), layer=5, texttype=0))
buffd16.add(gdstk.Label('n0', (18.015,1.82), layer=5, texttype=0))
buffd16.add(gdstk.Label('n0', (18.495,2.15), layer=5, texttype=0))
buffd16.add(gdstk.Label('n0', (18.975,1.82), layer=5, texttype=0))
buffd16.add(gdstk.Label('n0', (19.455,2.15), layer=5, texttype=0))
buffd16.add(gdstk.Label('n0', (19.935,1.82), layer=5, texttype=0))
buffd16.add(gdstk.Label('n0', (20.415,2.15), layer=5, texttype=0))
buffd16.add(gdstk.Label('n0', (20.895,1.82), layer=5, texttype=0))
buffd16.add(gdstk.Label('n0', (6.495,3.15), layer=5, texttype=0))
buffd16.add(gdstk.Label('n0', (7.455,3.15), layer=5, texttype=0))
buffd16.add(gdstk.Label('n0', (8.415,3.15), layer=5, texttype=0))
buffd16.add(gdstk.Label('n0', (9.375,3.15), layer=5, texttype=0))
buffd16.add(gdstk.Label('n0', (10.335,3.15), layer=5, texttype=0))
buffd16.add(gdstk.Label('n0', (11.295,3.15), layer=5, texttype=0))
buffd16.add(gdstk.Label('n0', (12.255,3.15), layer=5, texttype=0))
buffd16.add(gdstk.Label('n0', (13.215,3.15), layer=5, texttype=0))
buffd16.add(gdstk.Label('n0', (14.175,3.15), layer=5, texttype=0))
buffd16.add(gdstk.Label('n0', (15.135,3.15), layer=5, texttype=0))
buffd16.add(gdstk.Label('n0', (16.095,3.15), layer=5, texttype=0))
buffd16.add(gdstk.Label('n0', (17.055,3.15), layer=5, texttype=0))
buffd16.add(gdstk.Label('n0', (18.015,3.15), layer=5, texttype=0))
buffd16.add(gdstk.Label('n0', (18.975,3.15), layer=5, texttype=0))
buffd16.add(gdstk.Label('n0', (19.935,3.15), layer=5, texttype=0))
buffd16.add(gdstk.Label('n0', (20.895,3.15), layer=5, texttype=0))
buffd16.add(gdstk.Label('i', (0.735,1.61), layer=5, texttype=0))
buffd16.add(gdstk.Label('i', (1.215,2.15), layer=5, texttype=0))
buffd16.add(gdstk.Label('i', (1.695,1.82), layer=5, texttype=0))
buffd16.add(gdstk.Label('i', (2.175,2.15), layer=5, texttype=0))
buffd16.add(gdstk.Label('i', (2.655,1.82), layer=5, texttype=0))
buffd16.add(gdstk.Label('i', (3.135,2.15), layer=5, texttype=0))
buffd16.add(gdstk.Label('i', (3.615,1.82), layer=5, texttype=0))
buffd16.add(gdstk.Label('i', (4.095,2.15), layer=5, texttype=0))
buffd16.add(gdstk.Label('i', (4.575,1.82), layer=5, texttype=0))
buffd16.add(gdstk.Label('i', (5.055,2.15), layer=5, texttype=0))
buffd16.add(gdstk.Label('i', (5.535,1.82), layer=5, texttype=0))
buffd16.add(gdstk.Label('i', (0.735,3.6), layer=5, texttype=0))
buffd16.add(gdstk.Label('i', (1.695,3.15), layer=5, texttype=0))
buffd16.add(gdstk.Label('i', (2.655,3.15), layer=5, texttype=0))
buffd16.add(gdstk.Label('i', (3.615,3.15), layer=5, texttype=0))
buffd16.add(gdstk.Label('i', (4.575,3.15), layer=5, texttype=0))
buffd16.add(gdstk.Label('i', (5.535,3.15), layer=5, texttype=0))
buffd16.add(gdstk.Label('i', (0.735,1.49), layer=5, texttype=0))

lib.write_gds('BUFFD16.gds')
